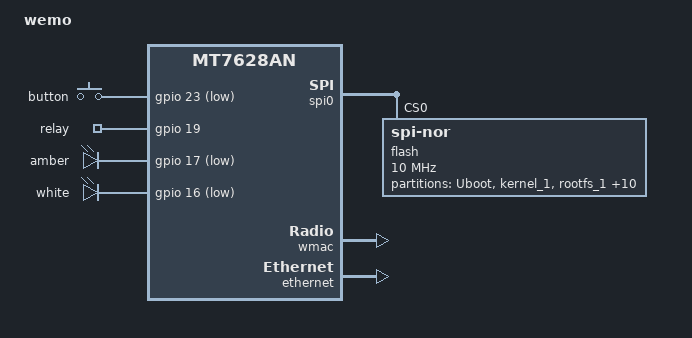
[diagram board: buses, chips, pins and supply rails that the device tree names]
#include "mt7628an.dtsi"
#include <dt-bindings/input/input.h>
#include <dt-bindings/gpio/gpio.h>

/ {
	compatible = "belkin,wemo", "mediatek,mt7628an-soc";
	model = "wemo";

	keys: keys {
        compatible = "gpio-keys";
        #address-cells = <1>;
        #size-cells = <0>;

        btn0: button@0 {
            label = "button";
            /* choose the keycode you want OpenWrt to see */
            linux,code = <KEY_RESTART>;
            gpios = <&gpio 23 GPIO_ACTIVE_LOW>;
            debounce-interval = <50>;
        };
    };

	gpio-export {
		compatible = "gpio-export";
		#size-cells = <0>;

		relay: relay {
			gpio-export,name = "relay";
			gpios = <&gpio 19 GPIO_ACTIVE_HIGH>;
			gpio-export,output = <0>;
		};
	};

	run_control: leds {
		compatible = "gpio-leds";
		amber: amber {
			label = "amber";
			gpios = <&gpio 17 GPIO_ACTIVE_LOW>;
			default-state = "off";
			linux,default-trigger = "none";
		};
		white: white {
			label = "white";
			gpios = <&gpio 16 GPIO_ACTIVE_LOW>;
			default-state = "on";
			linux,default-trigger = "timer";
		};
	};
};

&state_default {
	gpio {
		groups = "i2c";
		function = "gpio";
	};
};

&spi0 {
	status = "okay";

	flash@0 {
		compatible = "jedec,spi-nor";
		reg = <0>;
		spi-max-frequency = <10000000>;

		partitions {
			compatible = "fixed-partitions";
			#address-cells = <1>;
			#size-cells = <1>;

			partition@0 {
				label = "Uboot";
				reg = <0x0 0x30000>;
			};
			partition@50000 {
				label = "kernel_1";
				reg = <0x50000 0x1D0000>; /* max 1900544 bytes */
			};
			partition@220000 {
				label = "rootfs_1";
				reg = <0x220000 0x590000>; /* max 5832704 bytes */
			};
			partition@7c0000 {
				label = "kernel_2";
				reg = <0x7c0000 0x1D0000>; /* max 1900544 bytes */
			};
			partition@990000 {
				label = "rootfs_2";
				reg = <0x990000 0x590000>; /* max 5832704 bytes */
			};
			partition@f20000 {
				label = "rootfs_data";
				reg = <0xf20000 0xc0000>; /* max 768KiB */
			};
			partition@fe0000 {
				label = "nvram";
				reg = <0xfe0000 0x10000>;
			};
			partition@ff0000 {
				label = "User_Factory";
				reg = <0xff0000 0x10000>;
			};
			Factory: partition@40000 {
				label = "Factory";
				reg = <0x40000 0x10000>;
				compatible = "nvmem-cells";
				#address-cells = <1>;
				#size-cells = <1>;
				eeprom_factory_0: eeprom@0 {
					reg = <0x0 0x400>;
				};
				eth_mac: macaddr@28 {
					reg = <0x28 0x6>;
				};
			};
			partition@7b0000 {
				label = "homekit";
				reg = <0x7b0000 0x10000>;
			};
			partition@30000 {
				label = "Uboot_env";
				reg = <0x30000 0x10000>;
			};
			partition@50000b {
				label = "Firmware_1";
				reg = <0x50000 0x760000>;
			};
			partition@7c0000b {
				label = "Firmware_2";
				reg = <0x7c0000 0x760000>;
			};
		};
	};
};

&wmac {
	status = "okay";
	nvmem-cells = <&eeprom_factory_0>;
	nvmem-cell-names = "eeprom";
};

&ethernet {
    status = "okay";
	nvmem-cells = <&eth_mac>;
	nvmem-cell-names = "mac-address";
    /* Optional if you need +1 / -1 variants:
       mtd-mac-address-increment = <1>;
    */
};
